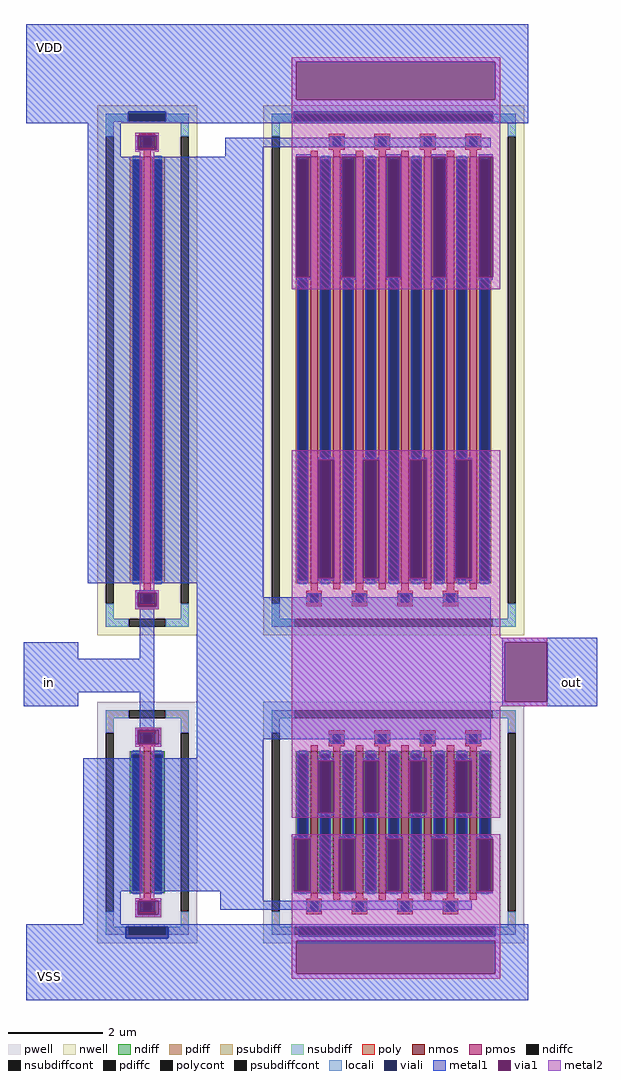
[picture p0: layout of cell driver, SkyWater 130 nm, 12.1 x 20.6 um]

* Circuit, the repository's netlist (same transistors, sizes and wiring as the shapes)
** sch_path: /home/matt/work/asic-workshop/shuttle-tt08/tt08-analog-ring-osc/xschem/driver.sch
.subckt driver VDD VSS in out
*.PININFO VDD:B VSS:B out:O in:I
XM9 net1 in VDD VDD sky130_fd_pr__pfet_01v8 L=0.15 W=9 nf=1 m=1
XM10 net1 in VSS VSS sky130_fd_pr__nfet_01v8 L=0.15 W=3 nf=1 m=1
XM11 out net1 VDD VDD sky130_fd_pr__pfet_01v8 L=0.15 W=72 nf=8 m=1
XM12 out net1 VSS VSS sky130_fd_pr__nfet_01v8 L=0.15 W=24 nf=8 m=1
.ends
.end

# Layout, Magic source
magic
tech sky130A
magscale 1 2
<< pwell >>
rect 3930 -190 4000 50
rect 4120 -190 4190 50
rect 4320 -190 4390 50
rect 4510 -190 4580 50
rect 4700 -190 4770 50
<< locali >>
rect 3930 3060 4770 3070
<< viali >>
rect 3230 3070 3390 3110
rect 3930 3070 4770 3110
rect 3220 -380 3400 -330
rect 3950 -370 4780 -330
<< metal1 >>
rect 2800 3320 4920 3480
rect 2800 3160 3940 3320
rect 4780 3160 4920 3320
rect 2800 3110 4920 3160
rect 2800 3070 3230 3110
rect 3390 3070 3930 3110
rect 4770 3070 4920 3110
rect 2800 3060 4920 3070
rect 3060 2920 3200 3060
rect 3260 2950 3270 3010
rect 3350 2950 3360 3010
rect 3640 2960 4760 3000
rect 3640 2920 3800 2960
rect 3060 1120 3280 2920
rect 3340 1120 3800 2920
rect 3940 2920 4000 2930
rect 3940 2400 4000 2410
rect 4130 2920 4190 2930
rect 4130 2400 4190 2410
rect 4320 2920 4380 2930
rect 4320 2400 4380 2410
rect 4510 2920 4570 2930
rect 4510 2400 4570 2410
rect 4710 2920 4770 2930
rect 4710 2400 4770 2410
rect 4030 1640 4100 1650
rect 4030 1130 4100 1140
rect 4220 1640 4290 1650
rect 4220 1130 4290 1140
rect 4420 1640 4490 1650
rect 4420 1130 4490 1140
rect 4610 1640 4680 1650
rect 4610 1130 4680 1140
rect 3260 1080 3360 1090
rect 3260 1020 3270 1080
rect 3350 1020 3360 1080
rect 3260 1010 3360 1020
rect 3520 1060 3800 1120
rect 2790 800 3020 870
rect 3280 800 3340 1010
rect 2790 660 3340 800
rect 2790 600 3020 660
rect 3280 510 3340 660
rect 3260 500 3370 510
rect 3260 440 3270 500
rect 3360 440 3370 500
rect 3520 460 4760 1060
rect 4810 870 5210 890
rect 4810 620 4820 870
rect 5000 620 5210 870
rect 4810 600 5210 620
rect 3520 380 3800 460
rect 3040 -180 3280 380
rect 3340 -180 3800 380
rect 4030 370 4100 380
rect 4030 140 4100 150
rect 4220 370 4290 380
rect 4220 140 4290 150
rect 4420 370 4490 380
rect 4420 140 4490 150
rect 4610 370 4680 380
rect 4610 140 4680 150
rect 3040 -320 3200 -180
rect 3620 -220 3800 -180
rect 3930 40 4000 50
rect 3930 -190 4000 -180
rect 4120 40 4190 50
rect 4120 -190 4190 -180
rect 4320 40 4390 50
rect 4320 -190 4390 -180
rect 4510 40 4580 50
rect 4510 -190 4580 -180
rect 4700 40 4770 50
rect 4700 -190 4770 -180
rect 3260 -280 3270 -220
rect 3360 -280 3370 -220
rect 3620 -260 4680 -220
rect 3260 -290 3370 -280
rect 2800 -330 4920 -320
rect 2800 -380 3220 -330
rect 3400 -370 3950 -330
rect 4780 -370 4920 -330
rect 3400 -380 4920 -370
rect 2800 -390 4920 -380
rect 2800 -530 3940 -390
rect 4780 -530 4920 -390
rect 2800 -640 4920 -530
<< via1 >>
rect 3940 3160 4780 3320
rect 3270 2950 3350 3010
rect 3940 2410 4000 2920
rect 4130 2410 4190 2920
rect 4320 2410 4380 2920
rect 4510 2410 4570 2920
rect 4710 2410 4770 2920
rect 4030 1140 4100 1640
rect 4220 1140 4290 1640
rect 4420 1140 4490 1640
rect 4610 1140 4680 1640
rect 3270 1020 3350 1080
rect 3270 440 3360 500
rect 4820 620 5000 870
rect 4030 150 4100 370
rect 4220 150 4290 370
rect 4420 150 4490 370
rect 4610 150 4680 370
rect 3930 -180 4000 40
rect 4120 -180 4190 40
rect 4320 -180 4390 40
rect 4510 -180 4580 40
rect 4700 -180 4770 40
rect 3270 -280 3360 -220
rect 3940 -530 4780 -390
<< metal2 >>
rect 3920 3320 4800 3340
rect 3920 3160 3940 3320
rect 4780 3160 4800 3320
rect 3260 3010 3360 3020
rect 3260 2950 3270 3010
rect 3350 2950 3360 3010
rect 3260 2940 3360 2950
rect 3280 1090 3340 2940
rect 3920 2920 4800 3160
rect 3920 2410 3940 2920
rect 4000 2410 4130 2920
rect 4190 2410 4320 2920
rect 4380 2410 4510 2920
rect 4570 2410 4710 2920
rect 4770 2410 4800 2920
rect 3920 2360 4800 2410
rect 3920 1640 4800 1680
rect 3920 1140 4030 1640
rect 4100 1140 4220 1640
rect 4290 1140 4420 1640
rect 4490 1140 4610 1640
rect 4680 1140 4800 1640
rect 3260 1080 3360 1090
rect 3260 1020 3270 1080
rect 3350 1020 3360 1080
rect 3260 1010 3360 1020
rect 3920 890 4800 1140
rect 3920 870 5000 890
rect 3920 620 4820 870
rect 3920 600 5000 620
rect 3260 500 3370 510
rect 3260 440 3270 500
rect 3360 440 3370 500
rect 3260 430 3370 440
rect 3280 -210 3340 430
rect 3920 370 4800 600
rect 3920 150 4030 370
rect 4100 150 4220 370
rect 4290 150 4420 370
rect 4490 150 4610 370
rect 4680 150 4800 370
rect 3920 130 4800 150
rect 3920 40 4800 60
rect 3920 -180 3930 40
rect 4000 -180 4120 40
rect 4190 -180 4320 40
rect 4390 -180 4510 40
rect 4580 -180 4700 40
rect 4770 -180 4800 40
rect 3260 -220 3370 -210
rect 3260 -280 3270 -220
rect 3360 -280 3370 -220
rect 3260 -290 3370 -280
rect 3920 -390 4800 -180
rect 3920 -530 3940 -390
rect 4780 -530 4800 -390
rect 3920 -550 4800 -530
use sky130_fd_pr__pfet_01v8_XGSFBL  XM9
transform 1 0 3311 0 1 2019
box -211 -1119 211 1119
use sky130_fd_pr__nfet_01v8_J2SMEF  XM10
transform 1 0 3311 0 1 110
box -211 -510 211 510
use sky130_fd_pr__pfet_01v8_UG67RG  XM11
transform 1 0 4351 0 1 2019
box -551 -1119 551 1119
use sky130_fd_pr__nfet_01v8_F5PS5H  XM12
transform 1 0 4351 0 1 110
box -551 -510 551 510
<< labels >>
flabel metal1 2800 600 3000 800 0 FreeSans 256 0 0 0 in
port 2 nsew
flabel metal1 5000 600 5200 800 0 FreeSans 256 0 0 0 out
port 3 nsew
flabel metal1 2800 3280 3000 3480 0 FreeSans 256 0 0 0 VDD
port 0 nsew
flabel metal1 2800 -640 3000 -440 0 FreeSans 256 0 0 0 VSS
port 1 nsew
<< end >>

# cell sky130_fd_pr__pfet_01v8_XGSFBL: kit device sky130_fd_pr__pfet_01v8, w 9.0 l 0.15 m 1 nf 1 diffcov 100 polycov 100 guard 1 glc 1 grc 1 gtc 1 gbc 1 tbcov 100 rlcov 100 topc 1 botc 1 poverlap 0 doverlap 1 lmin 0.15 wmin 0.42 compatible {sky130_fd_pr__pfet_01v8 sky130_fd_pr__pfet_01v8_lvt sky130_fd_pr__pfet_01v8_hvt sky130_fd_pr__pfet_g5v0d10v5} full_metal 1 viasrc 100 viadrn 100 viagate 100 viagb 0 viagr 0 viagl 0 viagt 0

# cell sky130_fd_pr__nfet_01v8_J2SMEF: kit device sky130_fd_pr__nfet_01v8, w 3.0 l 0.15 m 1 nf 1 diffcov 100 polycov 100 guard 1 glc 1 grc 1 gtc 1 gbc 1 tbcov 100 rlcov 100 topc 1 botc 1 poverlap 0 doverlap 1 lmin 0.15 wmin 0.42 compatible {sky130_fd_pr__nfet_01v8 sky130_fd_pr__nfet_01v8_lvt sky130_fd_bs_flash__special_sonosfet_star sky130_fd_pr__nfet_g5v0d10v5 sky130_fd_pr__nfet_05v0_nvt sky130_fd_pr__nfet_03v3_nvt} full_metal 1 viasrc 100 viadrn 100 viagate 100 viagb 0 viagr 0 viagl 0 viagt 0

# cell sky130_fd_pr__pfet_01v8_UG67RG: kit device sky130_fd_pr__pfet_01v8, w 9.0 l 0.15 m 1 nf 8 diffcov 100 polycov 100 guard 1 glc 1 grc 1 gtc 1 gbc 1 tbcov 100 rlcov 100 topc 1 botc 1 poverlap 0 doverlap 1 lmin 0.15 wmin 0.42 compatible {sky130_fd_pr__pfet_01v8 sky130_fd_pr__pfet_01v8_lvt sky130_fd_pr__pfet_01v8_hvt sky130_fd_pr__pfet_g5v0d10v5} full_metal 1 viasrc 100 viadrn 100 viagate 100 viagb 0 viagr 0 viagl 0 viagt 0

# cell sky130_fd_pr__nfet_01v8_F5PS5H: kit device sky130_fd_pr__nfet_01v8, w 3.0 l 0.15 m 1 nf 8 diffcov 100 polycov 100 guard 1 glc 1 grc 1 gtc 1 gbc 1 tbcov 100 rlcov 100 topc 1 botc 1 poverlap 0 doverlap 1 lmin 0.15 wmin 0.42 compatible {sky130_fd_pr__nfet_01v8 sky130_fd_pr__nfet_01v8_lvt sky130_fd_bs_flash__special_sonosfet_star sky130_fd_pr__nfet_g5v0d10v5 sky130_fd_pr__nfet_05v0_nvt sky130_fd_pr__nfet_03v3_nvt} full_metal 1 viasrc 100 viadrn 100 viagate 100 viagb 0 viagr 0 viagl 0 viagt 0
